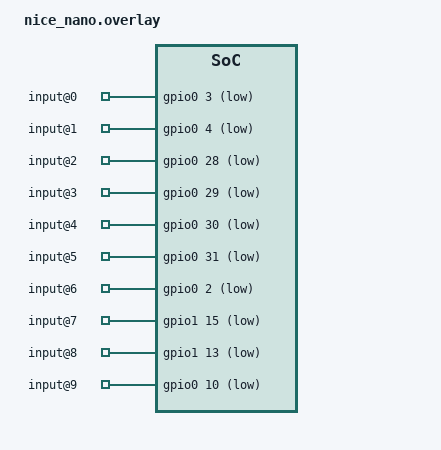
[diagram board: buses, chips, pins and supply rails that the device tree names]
/ {
    gpio_keys: gpio-keys {
        compatible = "zmk,gpio-keys";
        #address-cells = <1>;
        #size-cells = <0>;

        /* 摇杆四方向 对应 Pro Micro  D2/D3/D4/D5 */
        input@0 { gpios = <&gpio0 3 GPIO_ACTIVE_LOW>; };
        input@1 { gpios = <&gpio0 4 GPIO_ACTIVE_LOW>; };
        input@2 { gpios = <&gpio0 28 GPIO_ACTIVE_LOW>; };
        input@3 { gpios = <&gpio0 29 GPIO_ACTIVE_LOW>; };

        /* 功能按键 对应 Pro Micro D6/D7/D8/D9/D10/D16 */
        input@4 { gpios = <&gpio0 30 GPIO_ACTIVE_LOW>; };
        input@5 { gpios = <&gpio0 31 GPIO_ACTIVE_LOW>; };
        input@6 { gpios = <&gpio0 2 GPIO_ACTIVE_LOW>; };
        input@7 { gpios = <&gpio1 15 GPIO_ACTIVE_LOW>; };
        input@8 { gpios = <&gpio1 13 GPIO_ACTIVE_LOW>; };
        input@9 { gpios = <&gpio0 10 GPIO_ACTIVE_LOW>; };
    };

    keymap {
        compatible = "zmk,keymap";
        default_layer {
            bindings = <
                &joy_hat_up
                &joy_hat_down
                &joy_hat_left
                &joy_hat_right
                &joy_btn1
                &joy_btn2
                &joy_btn3
                &joy_btn4
                &joy_btn5
                &joy_btn6
            >;
        };
    };
};
